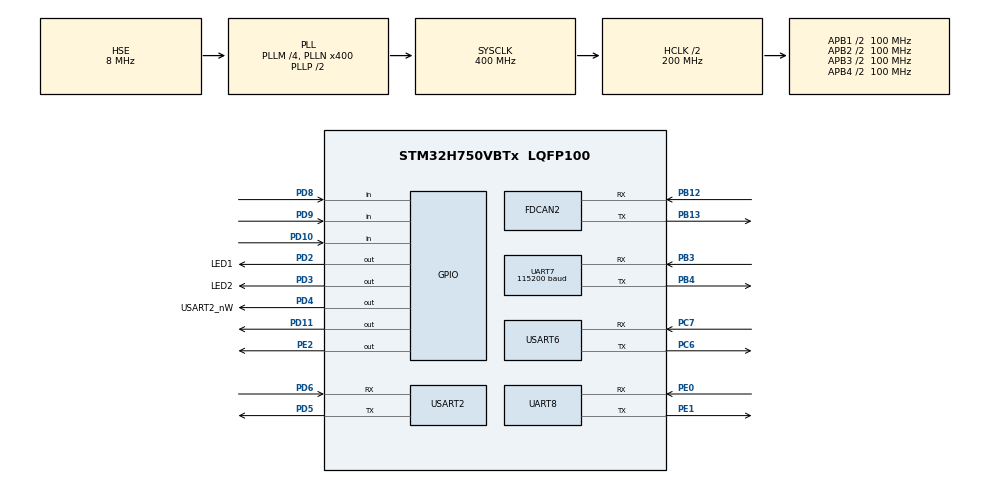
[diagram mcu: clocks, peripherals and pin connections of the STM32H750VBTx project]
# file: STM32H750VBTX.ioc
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CORTEX_M7.default_mode_Activation=1
Dma.Request0=UART7_RX
Dma.Request1=UART8_TX
Dma.Request2=USART2_TX
Dma.Request3=UART8_RX
Dma.Request4=USART6_TX
Dma.Request5=USART6_RX
Dma.UART7_RX.0.Direction=DMA_PERIPH_TO_MEMORY
Dma.UART7_RX.0.EventEnable=DISABLE
Dma.UART7_RX.0.FIFOMode=DMA_FIFOMODE_DISABLE
Dma.UART7_RX.0.Instance=DMA2_Stream0
Dma.UART7_RX.0.MemDataAlignment=DMA_MDATAALIGN_BYTE
Dma.UART7_RX.0.MemInc=DMA_MINC_ENABLE
Dma.UART7_RX.0.Mode=DMA_CIRCULAR
Dma.UART7_RX.0.PeriphDataAlignment=DMA_PDATAALIGN_BYTE
Dma.UART7_RX.0.PeriphInc=DMA_PINC_DISABLE
Dma.UART7_RX.0.Polarity=HAL_DMAMUX_REQ_GEN_RISING
Dma.UART7_RX.0.Priority=DMA_PRIORITY_LOW
Dma.UART7_RX.0.RequestNumber=1
Dma.UART7_RX.0.SignalID=NONE
Dma.UART7_RX.0.SyncEnable=DISABLE
Dma.UART7_RX.0.SyncPolarity=HAL_DMAMUX_SYNC_NO_EVENT
Dma.UART7_RX.0.SyncRequestNumber=1
Dma.UART7_RX.0.SyncSignalID=NONE
Dma.UART8_RX.3.Direction=DMA_PERIPH_TO_MEMORY
Dma.UART8_RX.3.EventEnable=DISABLE
Dma.UART8_RX.3.FIFOMode=DMA_FIFOMODE_DISABLE
Dma.UART8_RX.3.Instance=DMA1_Stream2
Dma.UART8_RX.3.MemDataAlignment=DMA_MDATAALIGN_BYTE
Dma.UART8_RX.3.MemInc=DMA_MINC_ENABLE
Dma.UART8_RX.3.Mode=DMA_NORMAL
Dma.UART8_RX.3.PeriphDataAlignment=DMA_PDATAALIGN_BYTE
Dma.UART8_RX.3.PeriphInc=DMA_PINC_DISABLE
Dma.UART8_RX.3.Polarity=HAL_DMAMUX_REQ_GEN_RISING
Dma.UART8_RX.3.Priority=DMA_PRIORITY_LOW
Dma.UART8_RX.3.RequestNumber=1
Dma.UART8_RX.3.SignalID=NONE
Dma.UART8_RX.3.SyncEnable=DISABLE
Dma.UART8_RX.3.SyncPolarity=HAL_DMAMUX_SYNC_NO_EVENT
Dma.UART8_RX.3.SyncRequestNumber=1
Dma.UART8_RX.3.SyncSignalID=NONE
Dma.UART8_TX.1.Direction=DMA_MEMORY_TO_PERIPH
Dma.UART8_TX.1.EventEnable=DISABLE
Dma.UART8_TX.1.FIFOMode=DMA_FIFOMODE_DISABLE
Dma.UART8_TX.1.Instance=DMA1_Stream3
Dma.UART8_TX.1.MemDataAlignment=DMA_MDATAALIGN_BYTE
Dma.UART8_TX.1.MemInc=DMA_MINC_ENABLE
Dma.UART8_TX.1.Mode=DMA_NORMAL
Dma.UART8_TX.1.PeriphDataAlignment=DMA_PDATAALIGN_BYTE
Dma.UART8_TX.1.PeriphInc=DMA_PINC_DISABLE
Dma.UART8_TX.1.Polarity=HAL_DMAMUX_REQ_GEN_RISING
Dma.UART8_TX.1.Priority=DMA_PRIORITY_LOW
Dma.UART8_TX.1.RequestNumber=1
Dma.UART8_TX.1.SignalID=NONE
Dma.UART8_TX.1.SyncEnable=DISABLE
Dma.UART8_TX.1.SyncPolarity=HAL_DMAMUX_SYNC_NO_EVENT
Dma.UART8_TX.1.SyncRequestNumber=1
Dma.UART8_TX.1.SyncSignalID=NONE
Dma.USART2_TX.2.Direction=DMA_MEMORY_TO_PERIPH
Dma.USART2_TX.2.EventEnable=DISABLE
Dma.USART2_TX.2.FIFOMode=DMA_FIFOMODE_DISABLE
Dma.USART2_TX.2.Instance=DMA1_Stream0
Dma.USART2_TX.2.MemDataAlignment=DMA_MDATAALIGN_BYTE
Dma.USART2_TX.2.MemInc=DMA_MINC_ENABLE
Dma.USART2_TX.2.Mode=DMA_NORMAL
Dma.USART2_TX.2.PeriphDataAlignment=DMA_PDATAALIGN_BYTE
Dma.USART2_TX.2.PeriphInc=DMA_PINC_DISABLE
Dma.USART2_TX.2.Polarity=HAL_DMAMUX_REQ_GEN_RISING
Dma.USART2_TX.2.Priority=DMA_PRIORITY_LOW
Dma.USART2_TX.2.RequestNumber=1
Dma.USART2_TX.2.SignalID=NONE
Dma.USART2_TX.2.SyncEnable=DISABLE
Dma.USART2_TX.2.SyncPolarity=HAL_DMAMUX_SYNC_NO_EVENT
Dma.USART2_TX.2.SyncRequestNumber=1
Dma.USART2_TX.2.SyncSignalID=NONE
Dma.USART6_RX.5.Direction=DMA_PERIPH_TO_MEMORY
Dma.USART6_RX.5.EventEnable=DISABLE
Dma.USART6_RX.5.FIFOMode=DMA_FIFOMODE_DISABLE
Dma.USART6_RX.5.Instance=DMA2_Stream1
Dma.USART6_RX.5.MemDataAlignment=DMA_MDATAALIGN_BYTE
Dma.USART6_RX.5.MemInc=DMA_MINC_ENABLE
Dma.USART6_RX.5.Mode=DMA_NORMAL
Dma.USART6_RX.5.PeriphDataAlignment=DMA_PDATAALIGN_BYTE
Dma.USART6_RX.5.PeriphInc=DMA_PINC_DISABLE
Dma.USART6_RX.5.Polarity=HAL_DMAMUX_REQ_GEN_RISING
Dma.USART6_RX.5.Priority=DMA_PRIORITY_LOW
Dma.USART6_RX.5.RequestNumber=1
Dma.USART6_RX.5.SignalID=NONE
Dma.USART6_RX.5.SyncEnable=DISABLE
Dma.USART6_RX.5.SyncPolarity=HAL_DMAMUX_SYNC_NO_EVENT
Dma.USART6_RX.5.SyncRequestNumber=1
Dma.USART6_RX.5.SyncSignalID=NONE
Dma.USART6_TX.4.Direction=DMA_MEMORY_TO_PERIPH
Dma.USART6_TX.4.EventEnable=DISABLE
Dma.USART6_TX.4.FIFOMode=DMA_FIFOMODE_DISABLE
Dma.USART6_TX.4.Instance=DMA1_Stream1
Dma.USART6_TX.4.MemDataAlignment=DMA_MDATAALIGN_BYTE
Dma.USART6_TX.4.MemInc=DMA_MINC_ENABLE
Dma.USART6_TX.4.Mode=DMA_NORMAL
Dma.USART6_TX.4.PeriphDataAlignment=DMA_PDATAALIGN_BYTE
Dma.USART6_TX.4.PeriphInc=DMA_PINC_DISABLE
Dma.USART6_TX.4.Polarity=HAL_DMAMUX_REQ_GEN_RISING
Dma.USART6_TX.4.Priority=DMA_PRIORITY_LOW
Dma.USART6_TX.4.RequestNumber=1
Dma.USART6_TX.4.SignalID=NONE
Dma.USART6_TX.4.SyncEnable=DISABLE
Dma.USART6_TX.4.SyncPolarity=HAL_DMAMUX_SYNC_NO_EVENT
Dma.USART6_TX.4.SyncRequestNumber=1
Dma.USART6_TX.4.SyncSignalID=NONE
FDCAN2.AutoRetransmission=DISABLE
FDCAN2.CalculateBaudRateNominal=500000
FDCAN2.CalculateTimeBitNominal=2000
FDCAN2.CalculateTimeQuantumNominal=125.0
FDCAN2.DataTimeSeg1=1
FDCAN2.DataTimeSeg2=1
FDCAN2.MessageRAMOffset=0x000
FDCAN2.Mode=FDCAN_MODE_NORMAL
FDCAN2.NominalPrescaler=1
FDCAN2.NominalSyncJumpWidth=1
FDCAN2.NominalTimeSeg1=10
FDCAN2.NominalTimeSeg2=5
FDCAN2.RxFifo0ElmtsNbr=1
FDCAN2.StdFiltersNbr=1
FDCAN2.TxBuffersNbr=4
FDCAN2.TxEventsNbr=2
FDCAN2.TxFifoQueueElmtsNbr=16
Mcu.Family=STM32H7
Mcu.Name=STM32H750VBTx
Mcu.Package=LQFP100
NVIC.DMA1_Stream0_IRQn=true\:0\:0\:false\:false\:true\:false\:true\:true
NVIC.DMA1_Stream1_IRQn=true\:0\:0\:false\:false\:true\:false\:true\:true
NVIC.DMA1_Stream2_IRQn=true\:0\:0\:false\:false\:true\:false\:true\:true
NVIC.DMA1_Stream3_IRQn=true\:0\:0\:false\:false\:true\:false\:true\:true
NVIC.DMA2_Stream0_IRQn=true\:0\:0\:true\:false\:true\:false\:true\:true
NVIC.DMA2_Stream1_IRQn=true\:0\:0\:false\:false\:true\:false\:true\:true
NVIC.FDCAN2_IT0_IRQn=true\:0\:0\:true\:false\:true\:true\:true\:true
NVIC.FDCAN2_IT1_IRQn=true\:0\:0\:true\:false\:true\:true\:true\:true
NVIC.FDCAN_CAL_IRQn=true\:0\:0\:false\:false\:true\:true\:true\:true
NVIC.PriorityGroup=NVIC_PRIORITYGROUP_4
NVIC.TIM5_IRQn=true\:1\:0\:true\:false\:true\:true\:true\:true
NVIC.UART7_IRQn=true\:1\:0\:true\:false\:true\:true\:true\:true
NVIC.UART8_IRQn=true\:0\:0\:false\:false\:true\:true\:true\:true
NVIC.USART2_IRQn=true\:0\:0\:true\:false\:true\:true\:true\:true
NVIC.USART6_IRQn=true\:0\:0\:false\:false\:true\:true\:true\:true
PB12.GPIO_PuPd=GPIO_PULLDOWN
PB12.Mode=FDCAN_Activate
PB12.Signal=FDCAN2_RX
PB13.GPIO_PuPd=GPIO_PULLDOWN
PB13.Mode=FDCAN_Activate
PB13.Signal=FDCAN2_TX
PB3\ (JTDO/TRACESWO).Mode=Asynchronous
PB3\ (JTDO/TRACESWO).Signal=UART7_RX
PB4\ (NJTRST).Mode=Asynchronous
PB4\ (NJTRST).Signal=UART7_TX
PC6.Mode=Asynchronous
PC6.Signal=USART6_TX
PC7.Mode=Asynchronous
PC7.Signal=USART6_RX
PD10.Signal=GPIO_Input
PD11.Signal=GPIO_Output
PD2.GPIO_Label=LED1
PD2.Signal=GPIO_Output
PD3.GPIO_Label=LED2
PD3.PinAttribute=Free
PD3.Signal=GPIO_Output
PD4.GPIO_Label=USART2_nW
PD4.GPIO_PuPd=GPIO_PULLUP
PD4.PinState=GPIO_PIN_SET
PD4.Signal=GPIO_Output
PD5.Mode=Asynchronous
PD5.Signal=USART2_TX
PD6.Mode=Asynchronous
PD6.Signal=USART2_RX
PD8.Signal=GPIO_Input
PD9.Signal=GPIO_Input
PE0.Mode=Asynchronous
PE0.Signal=UART8_RX
PE1.Mode=Asynchronous
PE1.Signal=UART8_TX
PE2.Signal=GPIO_Output
PH0-OSC_IN\ (PH0).Mode=HSE-External-Oscillator
PH0-OSC_IN\ (PH0).Signal=RCC_OSC_IN
PH1-OSC_OUT\ (PH1).Mode=HSE-External-Oscillator
PH1-OSC_OUT\ (PH1).Signal=RCC_OSC_OUT
ProjectManager.HeapSize=0x200
ProjectManager.StackSize=0x400
ProjectManager.TargetToolchain=MDK-ARM V5
RCC.ADCFreq_Value=12500000
RCC.APB1Freq_Value=100000000
RCC.APB2Freq_Value=100000000
RCC.APB3Freq_Value=100000000
RCC.APB4Freq_Value=100000000
RCC.CortexFreq_Value=400000000
RCC.Cortex_Div=SYSTICK_CLKSOURCE_HCLK
RCC.Cortex_DivARG=SystemCoreClock/1000
RCC.D1PPRE=RCC_APB3_DIV2
RCC.D2PPRE1=RCC_APB1_DIV2
RCC.D2PPRE2=RCC_APB2_DIV2
RCC.D3PPRE=RCC_APB4_DIV2
RCC.DIVM1=4
RCC.DIVM2=32
RCC.DIVM3=32
RCC.DIVN1=400
RCC.DIVN2=100
RCC.DIVP1=2
RCC.DIVP2=2
RCC.DIVP3=2
RCC.DIVQ1=100
RCC.DIVQ2=1
RCC.DIVQ3=2
RCC.DIVR1=2
RCC.DIVR2=2
RCC.DIVR3=2
RCC.DSIPHY_Div=8
RCC.DSITX_Div=4
RCC.FDCANCLockSelection=RCC_FDCANCLKSOURCE_HSE
RCC.HCLKFreq_Value=200000000
RCC.HPRE=RCC_HCLK_DIV2
RCC.HSE_VALUE=8000000
RCC.HSIDiv=RCC_PLLSAIDIVR_2
RCC.PLL1_VCI_Range-AdvancedSettings=RCC_PLL1VCIRANGE_0
RCC.PLL1_VCO_SEL-AdvancedSettings=RCC_PLL1VCOMEDIUM
RCC.PLL2_VCI_Range-AdvancedSettings=RCC_PLL2VCIRANGE_0
RCC.PLL2_VCO_SEL-AdvancedSettings=RCC_PLL2VCOMEDIUM
RCC.PLLDSIDev=2
RCC.PLLDSIIDF=DSI_PLL_IN_DIV1
RCC.PLLDSIMult=2
RCC.PLLDSINDIV=20
RCC.PLLDSIODF=DSI_PLL_OUT_DIV1
RCC.PLLSourceVirtual=RCC_PLLSOURCE_HSE
RCC.RCC_MCODiv1=RCC_MCODIV_1
RCC.RCC_MCODiv2=RCC_MCODIV_1
RCC.RCC_RTC_Clock_Source_FROM_HSE=RCC_RTCCLKSOURCE_HSE_DIV2
RCC.SYSCLKFreq_VALUE=400000000
RCC.SYSCLKSource=RCC_SYSCLKSOURCE_PLLCLK
RCC.USART16CLockSelection=RCC_USART16CLKSOURCE_HSI
RCC.USART234578CLockSelection=RCC_USART234578CLKSOURCE_HSI
RCC.USBFreq_Value=8000000
TIM5.Period=2499
TIM5.Prescaler=199
UART7.BaudRate=115200
USART2.DMADisableonRxErrorParam=ADVFEATURE_DMA_ENABLEONRXERROR
USART2.VirtualMode-Asynchronous=VM_ASYNC
USART6.VirtualMode=VM_ASYNC
VP_MEMORYMAP_VS_MEMORYMAP.Mode=CurAppReg
VP_TIM5_VS_ClockSourceINT.Mode=Internal
board=custom

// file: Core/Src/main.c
/* USER CODE BEGIN Header */
/**
 ******************************************************************************
 * @file           : main.c
 * @brief          : Main program body
 ******************************************************************************
 * @attention
 *
 * Copyright (c) 2024 STMicroelectronics.
 * All rights reserved.
 *
 * This software is licensed under terms that can be found in the LICENSE file
 * in the root directory of this software component.
 * If no LICENSE file comes with this software, it is provided AS-IS.
 *
 ******************************************************************************
 */
/* USER CODE END Header */
#include "main.h"

/* USER CODE BEGIN Includes */
#include "ESP32.h"
/* USER CODE END Includes */

FDCAN_HandleTypeDef hfdcan2;

TIM_HandleTypeDef htim5;

UART_HandleTypeDef huart7;
UART_HandleTypeDef huart8;
UART_HandleTypeDef huart2;
UART_HandleTypeDef huart6;
DMA_HandleTypeDef hdma_uart7_rx;
DMA_HandleTypeDef hdma_uart8_tx;
DMA_HandleTypeDef hdma_uart8_rx;
DMA_HandleTypeDef hdma_usart2_tx;
DMA_HandleTypeDef hdma_usart6_tx;
DMA_HandleTypeDef hdma_usart6_rx;

/* USER CODE BEGIN PV */

FDCAN_TxHeaderTypeDef TxHeader;
FDCAN_FilterTypeDef sFilterConfig;
FDCAN_ProtocolStatusTypeDef CANStatus;
FDCAN_RxHeaderTypeDef RxHeader;

//
const float f_base_Ts = 0.00005f; // PWM isr frequency - 20kHz
const float f_theta_Ts = 0.004f;  // Sampling frequency of the current control loop - 10kHz
// Sampling frequency of the "gear shaft speed" control loop - 20Hz
const float f_Gear_Ratio = 19.2f; // Gear box reduced speed ratio of motor
const float f_Vbus_Nom = 24.0f;   // Norminal dc bus voltage - V
float f_Ti_Spd = 0.2;             // 0.2 						//second

/*uart data*/
usartData usart4_Tx, usart4_Rx; // RS485
usartData usart5_Tx, usart5_Rx; // NEXTION

// Quadrature Encoder

uint8_t First_Cycle_Flag = 0;
// HWT906
#define RX_SIZE 33
uint8_t TxData[8];
uint32_t TxMailbox;
uint8_t RxData[RX_SIZE];
uint8_t rxBuffer[RX_SIZE] = {0};
HWT906 HWT906_data;
extern float angle_pitch;
float angle_psi_1 = 0.00f;
volatile uint8_t control = 1;
// CAN
SP_CAN can_sp;
GET_CAN can_get;

#define COMBINE_2BYTES(high, low) ((int16_t)(((int16_t)(high) << 8) | (low)))
float pi = 3.14159265f;
uint8_t RS485_frame[50];
// HSMC
TWBMR parameter_TWBMR;
HSMC control_hsmc, control_smc;
F f_funtion;
G g_funtion;
// Ramp
RAMP fRamp_x;
RAMP fRamp_theta;
RAMP fRamp_psi;
/* USER CODE END PV */

void SystemClock_Config(void);
static void MPU_Config(void);
static void MX_GPIO_Init(void);
static void MX_DMA_Init(void);
static void MX_FDCAN2_Init(void);
static void MX_UART7_Init(void);
static void MX_TIM5_Init(void);
static void MX_USART2_UART_Init(void);
static void MX_USART6_UART_Init(void);
static void MX_UART8_Init(void);

/* USER CODE BEGIN 0 */

void ExitRun0Mode(void) {
  // Hàm rỗng để fix lỗi Linker của file startup
}

// Hàm nháy led
void Toggle_Led(uint8_t led_number) {
  static uint8_t TimeTick1 = 0;
  static uint8_t TimeTick2 = 0;
  if (led_number == 1) {
    if (++TimeTick1 == 100) {
      HAL_GPIO_TogglePin(GPIOD, GPIO_PIN_3); // Led 1 - Led đỏ
      TimeTick1 = 0;
    }
  } else if (led_number == 2) {
    if (++TimeTick2 == 100) {
      HAL_GPIO_TogglePin(GPIOD, GPIO_PIN_2); // Led 2 - Led xanh lá
      TimeTick2 = 0;
    }
  }
}
/* USER CODE END 0 */

int main(void) {

  /* MPU Configuration--------------------------------------------------------*/
  MPU_Config();

  /* MCU Configuration--------------------------------------------------------*/

  /* Reset of all peripherals, Initializes the Flash interface and the Systick. */
  HAL_Init();

  /* Configure the system clock */
  SystemClock_Config();

  /* Initialize all configured peripherals */
  MX_GPIO_Init();
  MX_DMA_Init();
  MX_FDCAN2_Init();
  MX_UART7_Init();
  MX_TIM5_Init();
  MX_USART2_UART_Init();
  MX_USART6_UART_Init();
  MX_UART8_Init();
  /* USER CODE BEGIN 2 */

  FDCAN_Config();

  // Nhận dữ liệu IMU
  HAL_UART_Receive_DMA(&huart7, rxBuffer, RX_SIZE);
  HAL_Delay(1000);

  // SIN_COS
  init_lookup_table();

  // Khởi tao thông số vật lý
  TwoWBMR_Init(&parameter_TWBMR);

  // SMC
  control_smc.c1 = 20.0f;
  control_smc.c2 = 400.0f;
  control_smc.c3 = 10.0f;
  control_smc.ETA1 = 1.0f;
  control_smc.ETA2 = 20.0f;
  control_smc.ETA3 = 1.0f;
  control_smc.k1 = 2.0f;
  control_smc.k2 = 10.0f;
  control_smc.k3 = 10.0f;

  // Timer interup
  HAL_TIM_Base_Start_IT(&htim5);

  HAL_Delay(3000);

  // Nhận dữ liệu ESP32
  HAL_UARTEx_ReceiveToIdle_DMA(&huart6, rx_frame, sizeof(rx_frame));

  /* USER CODE END 2 */

  /* Infinite loop */

  /* USER CODE BEGIN 3 */
  while (1) {
    // Xử lý lệnh được truyền xuống
    if (vs_head != vs_tail) {
      ReadAndProcessVSData();
    }
    // Tạo và gửi dữ liệu lên
    if (g_tx_esp32_flag) {
      SendDataToESP32(&huart6, &HWT906_data, &can_sp, &can_get, tx_frame);
      g_tx_esp32_flag = 0;
    }
  }
}
/* USER CODE END 3 */

void SystemClock_Config(void) {
  RCC_OscInitTypeDef RCC_OscInitStruct = {0};
  RCC_ClkInitTypeDef RCC_ClkInitStruct = {0};

  /** Supply configuration update enable
   */
  HAL_PWREx_ConfigSupply(PWR_LDO_SUPPLY);

  /** Configure the main internal regulator output voltage
   */
  __HAL_PWR_VOLTAGESCALING_CONFIG(PWR_REGULATOR_VOLTAGE_SCALE1);

  while (!__HAL_PWR_GET_FLAG(PWR_FLAG_VOSRDY)) {
  }

  /** Initializes the RCC Oscillators according to the specified parameters
   * in the RCC_OscInitTypeDef structure.
   */
  RCC_OscInitStruct.OscillatorType = RCC_OSCILLATORTYPE_HSI | RCC_OSCILLATORTYPE_HSE;
  RCC_OscInitStruct.HSEState = RCC_HSE_ON;
  RCC_OscInitStruct.HSIState = RCC_HSI_DIV2;
  RCC_OscInitStruct.HSICalibrationValue = RCC_HSICALIBRATION_DEFAULT;
  RCC_OscInitStruct.PLL.PLLState = RCC_PLL_ON;
  RCC_OscInitStruct.PLL.PLLSource = RCC_PLLSOURCE_HSE;
  RCC_OscInitStruct.PLL.PLLM = 4;
  RCC_OscInitStruct.PLL.PLLN = 400;
  RCC_OscInitStruct.PLL.PLLP = 2;
  RCC_OscInitStruct.PLL.PLLQ = 100;
  RCC_OscInitStruct.PLL.PLLR = 2;
  RCC_OscInitStruct.PLL.PLLRGE = RCC_PLL1VCIRANGE_1;
  RCC_OscInitStruct.PLL.PLLVCOSEL = RCC_PLL1VCOWIDE;
  RCC_OscInitStruct.PLL.PLLFRACN = 0;
  if (HAL_RCC_OscConfig(&RCC_OscInitStruct) != HAL_OK) {
    Error_Handler();
  }

  /** Initializes the CPU, AHB and APB buses clocks
   */
  RCC_ClkInitStruct.ClockType = RCC_CLOCKTYPE_HCLK | RCC_CLOCKTYPE_SYSCLK | RCC_CLOCKTYPE_PCLK1 | RCC_CLOCKTYPE_PCLK2 |
                                RCC_CLOCKTYPE_D3PCLK1 | RCC_CLOCKTYPE_D1PCLK1;
  RCC_ClkInitStruct.SYSCLKSource = RCC_SYSCLKSOURCE_PLLCLK;
  RCC_ClkInitStruct.SYSCLKDivider = RCC_SYSCLK_DIV1;
  RCC_ClkInitStruct.AHBCLKDivider = RCC_HCLK_DIV2;
  RCC_ClkInitStruct.APB3CLKDivider = RCC_APB3_DIV2;
  RCC_ClkInitStruct.APB1CLKDivider = RCC_APB1_DIV2;
  RCC_ClkInitStruct.APB2CLKDivider = RCC_APB2_DIV2;
  RCC_ClkInitStruct.APB4CLKDivider = RCC_APB4_DIV2;

  if (HAL_RCC_ClockConfig(&RCC_ClkInitStruct, FLASH_LATENCY_2) != HAL_OK) {
    Error_Handler();
  }
}

static void MX_FDCAN2_Init(void) {

  hfdcan2.Instance = FDCAN2;
  hfdcan2.Init.FrameFormat = FDCAN_FRAME_CLASSIC;
  hfdcan2.Init.Mode = FDCAN_MODE_NORMAL;
  hfdcan2.Init.AutoRetransmission = DISABLE;
  hfdcan2.Init.TransmitPause = DISABLE;
  hfdcan2.Init.ProtocolException = DISABLE;
  hfdcan2.Init.NominalPrescaler = 1;
  hfdcan2.Init.NominalSyncJumpWidth = 1;
  hfdcan2.Init.NominalTimeSeg1 = 10;
  hfdcan2.Init.NominalTimeSeg2 = 5;
  hfdcan2.Init.DataPrescaler = 1;
  hfdcan2.Init.DataSyncJumpWidth = 1;
  hfdcan2.Init.DataTimeSeg1 = 1;
  hfdcan2.Init.DataTimeSeg2 = 1;
  hfdcan2.Init.MessageRAMOffset = 0x000;
  hfdcan2.Init.StdFiltersNbr = 1;
  hfdcan2.Init.ExtFiltersNbr = 0;
  hfdcan2.Init.RxFifo0ElmtsNbr = 1;
  hfdcan2.Init.RxFifo0ElmtSize = FDCAN_DATA_BYTES_8;
  hfdcan2.Init.RxFifo1ElmtsNbr = 0;
  hfdcan2.Init.RxFifo1ElmtSize = FDCAN_DATA_BYTES_8;
  hfdcan2.Init.RxBuffersNbr = 0;
  hfdcan2.Init.RxBufferSize = FDCAN_DATA_BYTES_8;
  hfdcan2.Init.TxEventsNbr = 2;
  hfdcan2.Init.TxBuffersNbr = 4;
  hfdcan2.Init.TxFifoQueueElmtsNbr = 16;
  hfdcan2.Init.TxFifoQueueMode = FDCAN_TX_FIFO_OPERATION;
  hfdcan2.Init.TxElmtSize = FDCAN_DATA_BYTES_8;
  if (HAL_FDCAN_Init(&hfdcan2) != HAL_OK) {
    Error_Handler();
  }
  /* USER CODE BEGIN FDCAN2_Init 2 */

  //	  FDCAN_FilterTypeDef sFilterConfig;
  //  /* Configure Rx filter */
  //	sFilterConfig.IdType = FDCAN_STANDARD_ID;  // config enable
  // stand_mode(11 byte) 	sFilterConfig.FilterIndex = 0;
  // sFilterConfig.FilterType = FDCAN_FILTER_MASK;        // chose type filter
  // sFilterConfig.FilterConfig = FDCAN_FILTER_TO_RXFIFO0;  // choonse type ram
  // Buffer (FIFO0, FIFO1) 	sFilterConfig.FilterID1 = 0x11;       // config
  // ID of tranmitter 	sFilterConfig.FilterID2 = 0x7FF;      // config
  //	sFilterConfig.RxBufferIndex=8; // the length of the frame that will be
  // received
  //  if (HAL_FDCAN_ConfigFilter(&hfdcan2, &sFilterConfig) != HAL_OK)
  //  {
  ////    Error_Handler();
  //  }
  // if (HAL_FDCAN_ConfigGlobalFilter(&hfdcan2, FDCAN_REJECT, FDCAN_REJECT,
  // FDCAN_REJECT, FDCAN_REJECT) != HAL_OK)
  //  {
  //    Error_Handler();
  //  }
  /* USER CODE END FDCAN2_Init 2 */
}

static void MX_TIM5_Init(void) {

  TIM_ClockConfigTypeDef sClockSourceConfig = {0};
  TIM_MasterConfigTypeDef sMasterConfig = {0};

  htim5.Instance = TIM5;
  htim5.Init.Prescaler = 199;
  htim5.Init.CounterMode = TIM_COUNTERMODE_UP;
  htim5.Init.Period = 2499;
  htim5.Init.ClockDivision = TIM_CLOCKDIVISION_DIV1;
  htim5.Init.AutoReloadPreload = TIM_AUTORELOAD_PRELOAD_DISABLE;
  if (HAL_TIM_Base_Init(&htim5) != HAL_OK) {
    Error_Handler();
  }
  sClockSourceConfig.ClockSource = TIM_CLOCKSOURCE_INTERNAL;
  if (HAL_TIM_ConfigClockSource(&htim5, &sClockSourceConfig) != HAL_OK) {
    Error_Handler();
  }
  sMasterConfig.MasterOutputTrigger = TIM_TRGO_RESET;
  sMasterConfig.MasterSlaveMode = TIM_MASTERSLAVEMODE_DISABLE;
  if (HAL_TIMEx_MasterConfigSynchronization(&htim5, &sMasterConfig) != HAL_OK) {
    Error_Handler();
  }
}

static void MX_UART7_Init(void) {

  huart7.Instance = UART7;
  huart7.Init.BaudRate = 115200;
  huart7.Init.WordLength = UART_WORDLENGTH_8B;
  huart7.Init.StopBits = UART_STOPBITS_1;
  huart7.Init.Parity = UART_PARITY_NONE;
  huart7.Init.Mode = UART_MODE_TX_RX;
  huart7.Init.HwFlowCtl = UART_HWCONTROL_NONE;
  huart7.Init.OverSampling = UART_OVERSAMPLING_16;
  huart7.Init.OneBitSampling = UART_ONE_BIT_SAMPLE_DISABLE;
  huart7.Init.ClockPrescaler = UART_PRESCALER_DIV1;
  huart7.AdvancedInit.AdvFeatureInit = UART_ADVFEATURE_NO_INIT;
  if (HAL_UART_Init(&huart7) != HAL_OK) {
    Error_Handler();
  }
  if (HAL_UARTEx_SetTxFifoThreshold(&huart7, UART_TXFIFO_THRESHOLD_1_8) != HAL_OK) {
    Error_Handler();
  }
  if (HAL_UARTEx_SetRxFifoThreshold(&huart7, UART_RXFIFO_THRESHOLD_1_8) != HAL_OK) {
    Error_Handler();
  }
  if (HAL_UARTEx_DisableFifoMode(&huart7) != HAL_OK) {
    Error_Handler();
  }
}

static void MX_UART8_Init(void) {

  huart8.Instance = UART8;
  huart8.Init.BaudRate = 115200;
  huart8.Init.WordLength = UART_WORDLENGTH_8B;
  huart8.Init.StopBits = UART_STOPBITS_1;
  huart8.Init.Parity = UART_PARITY_NONE;
  huart8.Init.Mode = UART_MODE_TX_RX;
  huart8.Init.HwFlowCtl = UART_HWCONTROL_NONE;
  huart8.Init.OverSampling = UART_OVERSAMPLING_16;
  huart8.Init.OneBitSampling = UART_ONE_BIT_SAMPLE_DISABLE;
  huart8.Init.ClockPrescaler = UART_PRESCALER_DIV1;
  huart8.AdvancedInit.AdvFeatureInit = UART_ADVFEATURE_NO_INIT;
  if (HAL_UART_Init(&huart8) != HAL_OK) {
    Error_Handler();
  }
  if (HAL_UARTEx_SetTxFifoThreshold(&huart8, UART_TXFIFO_THRESHOLD_1_8) != HAL_OK) {
    Error_Handler();
  }
  if (HAL_UARTEx_SetRxFifoThreshold(&huart8, UART_RXFIFO_THRESHOLD_1_8) != HAL_OK) {
    Error_Handler();
  }
  if (HAL_UARTEx_DisableFifoMode(&huart8) != HAL_OK) {
    Error_Handler();
  }
}

static void MX_USART2_UART_Init(void) {

  huart2.Instance = USART2;
  huart2.Init.BaudRate = 115200;
  huart2.Init.WordLength = UART_WORDLENGTH_8B;
  huart2.Init.StopBits = UART_STOPBITS_1;
  huart2.Init.Parity = UART_PARITY_NONE;
  huart2.Init.Mode = UART_MODE_TX_RX;
  huart2.Init.HwFlowCtl = UART_HWCONTROL_NONE;
  huart2.Init.OverSampling = UART_OVERSAMPLING_16;
  huart2.Init.OneBitSampling = UART_ONE_BIT_SAMPLE_DISABLE;
  huart2.Init.ClockPrescaler = UART_PRESCALER_DIV1;
  huart2.AdvancedInit.AdvFeatureInit = UART_ADVFEATURE_NO_INIT;
  if (HAL_RS485Ex_Init(&huart2, UART_DE_POLARITY_HIGH, 0, 0) != HAL_OK) {
    Error_Handler();
  }
  if (HAL_UARTEx_SetTxFifoThreshold(&huart2, UART_TXFIFO_THRESHOLD_1_8) != HAL_OK) {
    Error_Handler();
  }
  if (HAL_UARTEx_SetRxFifoThreshold(&huart2, UART_RXFIFO_THRESHOLD_1_8) != HAL_OK) {
    Error_Handler();
  }
  if (HAL_UARTEx_DisableFifoMode(&huart2) != HAL_OK) {
    Error_Handler();
  }
}

static void MX_USART6_UART_Init(void) {

  huart6.Instance = USART6;
  huart6.Init.BaudRate = 115200;
  huart6.Init.WordLength = UART_WORDLENGTH_8B;
  huart6.Init.StopBits = UART_STOPBITS_1;
  huart6.Init.Parity = UART_PARITY_NONE;
  huart6.Init.Mode = UART_MODE_TX_RX;
  huart6.Init.HwFlowCtl = UART_HWCONTROL_NONE;
  huart6.Init.OverSampling = UART_OVERSAMPLING_16;
  huart6.Init.OneBitSampling = UART_ONE_BIT_SAMPLE_DISABLE;
  huart6.Init.ClockPrescaler = UART_PRESCALER_DIV1;
  huart6.AdvancedInit.AdvFeatureInit = UART_ADVFEATURE_NO_INIT;
  if (HAL_UART_Init(&huart6) != HAL_OK) {
    Error_Handler();
  }
  if (HAL_UARTEx_SetTxFifoThreshold(&huart6, UART_TXFIFO_THRESHOLD_1_8) != HAL_OK) {
    Error_Handler();
  }
  if (HAL_UARTEx_SetRxFifoThreshold(&huart6, UART_RXFIFO_THRESHOLD_1_8) != HAL_OK) {
    Error_Handler();
  }
  if (HAL_UARTEx_DisableFifoMode(&huart6) != HAL_OK) {
    Error_Handler();
  }
}

static void MX_DMA_Init(void) {

  /* DMA controller clock enable */
  __HAL_RCC_DMA2_CLK_ENABLE();
  __HAL_RCC_DMA1_CLK_ENABLE();

  /* DMA interrupt init */
  /* DMA1_Stream0_IRQn interrupt configuration */
  HAL_NVIC_SetPriority(DMA1_Stream0_IRQn, 0, 0);
  HAL_NVIC_EnableIRQ(DMA1_Stream0_IRQn);
  /* DMA1_Stream1_IRQn interrupt configuration */
  HAL_NVIC_SetPriority(DMA1_Stream1_IRQn, 0, 0);
  HAL_NVIC_EnableIRQ(DMA1_Stream1_IRQn);
  /* DMA1_Stream2_IRQn interrupt configuration */
  HAL_NVIC_SetPriority(DMA1_Stream2_IRQn, 0, 0);
  HAL_NVIC_EnableIRQ(DMA1_Stream2_IRQn);
  /* DMA1_Stream3_IRQn interrupt configuration */
  HAL_NVIC_SetPriority(DMA1_Stream3_IRQn, 0, 0);
  HAL_NVIC_EnableIRQ(DMA1_Stream3_IRQn);
  /* DMA2_Stream0_IRQn interrupt configuration */
  HAL_NVIC_SetPriority(DMA2_Stream0_IRQn, 0, 0);
  HAL_NVIC_EnableIRQ(DMA2_Stream0_IRQn);
  /* DMA2_Stream1_IRQn interrupt configuration */
  HAL_NVIC_SetPriority(DMA2_Stream1_IRQn, 0, 0);
  HAL_NVIC_EnableIRQ(DMA2_Stream1_IRQn);
}

static void MX_GPIO_Init(void) {
  GPIO_InitTypeDef GPIO_InitStruct = {0};

  /* GPIO Ports Clock Enable */
  __HAL_RCC_GPIOE_CLK_ENABLE();
  __HAL_RCC_GPIOH_CLK_ENABLE();
  __HAL_RCC_GPIOB_CLK_ENABLE();
  __HAL_RCC_GPIOD_CLK_ENABLE();
  __HAL_RCC_GPIOC_CLK_ENABLE();

  /*Configure GPIO pin Output Level */
  HAL_GPIO_WritePin(GPIOE, GPIO_PIN_2, GPIO_PIN_RESET);

  /*Configure GPIO pin Output Level */
  HAL_GPIO_WritePin(GPIOD, GPIO_PIN_11 | LED1_Pin | LED2_Pin, GPIO_PIN_RESET);

  /*Configure GPIO pin : PE2 */
  GPIO_InitStruct.Pin = GPIO_PIN_2;
  GPIO_InitStruct.Mode = GPIO_MODE_OUTPUT_PP;
  GPIO_InitStruct.Pull = GPIO_NOPULL;
  GPIO_InitStruct.Speed = GPIO_SPEED_FREQ_LOW;
  HAL_GPIO_Init(GPIOE, &GPIO_InitStruct);

  /*Configure GPIO pins : PD8 PD9 PD10 */
  GPIO_InitStruct.Pin = GPIO_PIN_8 | GPIO_PIN_9 | GPIO_PIN_10;
  GPIO_InitStruct.Mode = GPIO_MODE_INPUT;
  GPIO_InitStruct.Pull = GPIO_NOPULL;
  HAL_GPIO_Init(GPIOD, &GPIO_InitStruct);

  /*Configure GPIO pins : PD11 LED1_Pin LED2_Pin */
  GPIO_InitStruct.Pin = GPIO_PIN_11 | LED1_Pin | LED2_Pin;
  GPIO_InitStruct.Mode = GPIO_MODE_OUTPUT_PP;
  GPIO_InitStruct.Pull = GPIO_NOPULL;
  GPIO_InitStruct.Speed = GPIO_SPEED_FREQ_LOW;
  HAL_GPIO_Init(GPIOD, &GPIO_InitStruct);

}

/* MPU Configuration */

void MPU_Config(void) {
  MPU_Region_InitTypeDef MPU_InitStruct = {0};

  /* Disables the MPU */
  HAL_MPU_Disable();

  /** Initializes and configures the Region and the memory to be protected
   */
  MPU_InitStruct.Enable = MPU_REGION_ENABLE;
  MPU_InitStruct.Number = MPU_REGION_NUMBER0;
  MPU_InitStruct.BaseAddress = 0x0;
  MPU_InitStruct.Size = MPU_REGION_SIZE_4GB;
  MPU_InitStruct.SubRegionDisable = 0x87;
  MPU_InitStruct.TypeExtField = MPU_TEX_LEVEL0;
  MPU_InitStruct.AccessPermission = MPU_REGION_NO_ACCESS;
  MPU_InitStruct.DisableExec = MPU_INSTRUCTION_ACCESS_DISABLE;
  MPU_InitStruct.IsShareable = MPU_ACCESS_SHAREABLE;
  MPU_InitStruct.IsCacheable = MPU_ACCESS_NOT_CACHEABLE;
  MPU_InitStruct.IsBufferable = MPU_ACCESS_NOT_BUFFERABLE;

  HAL_MPU_ConfigRegion(&MPU_InitStruct);
  /* Enables the MPU */
  HAL_MPU_Enable(MPU_PRIVILEGED_DEFAULT);
}

void Error_Handler(void) {
  __disable_irq();
  while (1) {
  }
}
#ifdef USE_FULL_ASSERT
/**
 * @brief  Reports the name of the source file and the source line number
 *         where the assert_param error has occurred.
 * @param  file: pointer to the source file name
 * @param  line: assert_param error line source number
 * @retval None
 */
void assert_failed(uint8_t *file, uint32_t line) {
  /* USER CODE BEGIN 6 */
  /* User can add his own implementation to report the file name and line
     number, ex: printf("Wrong parameters value: file %s on line %d\r\n", file,
     line) */
  /* USER CODE END 6 */
}
#endif /* USE_FULL_ASSERT */
